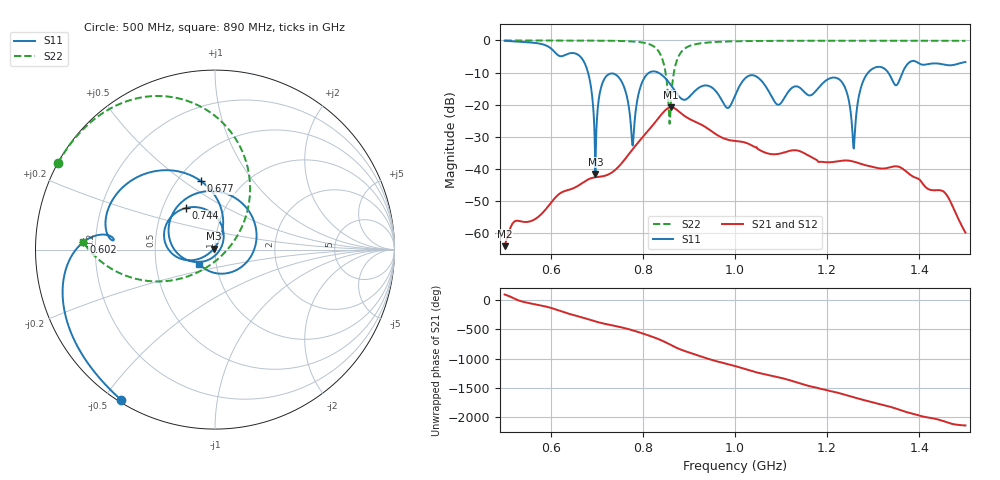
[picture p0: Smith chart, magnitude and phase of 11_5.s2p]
! TOUCHSTONE file generated by CST MICROWAVE STUDIO
! Date and time: Mon Nov 30 08:37:13 2020
! Project name: Scenario_1_Planar_Body_Tissue_Out_of_Line.cst
! Parameters = {dy1=-173; L_HA=400; Ltissue=700; MT=2.54; Rad_Dielectric=30; Rad_Lower=7.3; Rad_Upper=30; Wtissue=700; a_HA=580; a_WG=246; b_HA=500; b_WG=121; c_HA=0; c_WG=187; d_feed=85; dx1=866; h_feed=15; h_lower=18; h_upper=40; hfat=3; hgap=25; hmuscle=50; hskin=1.5}
! Header version: 2018
! Port assignment regex: !\s*Touchstone port\s*([0-9]+)\s*=\s*(CST MWS port|CST DS port)\s*([0-9]+|Zmin|Zmax)\s*\(\"(.*)\"\)(\s*mode\s*([0-9]+))?.*
! Touchstone port assignment:
! Touchstone port 1 = CST MWS port 1 ("")
! Touchstone port 2 = CST MWS port 2 ("")
# GHz S DB R 50
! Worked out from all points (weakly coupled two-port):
!   1003 points, 500 MHz to 1.5 GHz, reference 50 ohm
!   highest |S21| = -20.82 dB at 861 MHz (marker M1); lowest = -64.1 dB at 500 MHz (marker M2)
!   lowest |S11| = -41.7 dB at 697 MHz (marker M3), VSWR 1.02, Z = 49.3 + j0.473 ohm
!   |S11| at or under -10 dB: 681 MHz to 814.1 MHz (133.1 MHz wide, 17.8 % of centre); 833 MHz to 1.289 GHz (456.1 MHz wide, 43 % of centre); 1.332 GHz to 1.364 GHz (31.19 MHz wide, 2.31 % of centre)
!   |S22| runs from -26.0 to 0.0 dB; largest |S21 - S12| = 0.00074
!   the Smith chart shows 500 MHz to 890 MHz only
!   S11 on the Smith chart (normalised r, x): 500 MHz: 0.01, -0.55; 602 MHz: 0.15, +0.03; 677 MHz: 0.65, +0.58; 744 MHz: 0.66, +0.33; 890 MHz: 0.83, -0.13
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0.5  -0.11 -122.1  -64.14 100.6  -64.14 100.6  -0.01 151.2
0.602  -2.68 176.7  -50.37 -132.7  -50.36 -132.7  -0.02 144.0
0.667  -5.48 123.9  -44.60 69.1  -44.61 69.1  -0.04 138.4
0.677  -8.19 101.5  -43.68 45.8  -43.68 45.8  -0.05 137.4
0.697  -41.67 144.5  -42.66 -2.2  -42.66 -2.2  -0.06 135.2
0.714  -12.73 -172.4  -42.32 -36.8  -42.32 -36.8  -0.08 133.1
0.744  -10.97 125.0  -39.85 -86.8  -39.85 -86.8  -0.15 128.6
0.778  -32.76 -45.2  -33.92 -155.3  -33.92 -155.3  -0.33 121.0
0.799  -12.88 179.7  -30.24 152.3  -30.24 152.3  -0.64 113.2
0.834  -10.07 73.7  -24.13 53.6  -24.15 53.7  -3.35 84.0
0.861  -13.94 -12.8  -20.82 -47.9  -20.82 -47.9  -18.92 -116.4
0.89  -18.51 -138.1  -23.50 -148.4  -23.50 -148.4  -2.64 176.6
1  -17.18 109.3  -31.33 -49.4  -31.34 -49.4  -0.26 140.3
1.034  -10.86 -6.5  -32.55 -129.1  -32.55 -129.1  -0.19 136.1
1.092  -20.00 153.1  -35.42 121.0  -35.43 121.0  -0.13 130.4
1.167  -16.92 169.2  -36.51 -45.1  -36.53 -45.1  -0.09 124.2
1.228  -12.36 2.5  -37.57 -159.7  -37.57 -159.7  -0.09 119.6
1.258  -33.69 35.7  -37.79 131.5  -37.79 131.5  -0.08 117.3
1.284  -11.02 52.7  -38.94 76.0  -38.94 76.0  -0.09 115.3
1.334  -10.35 -17.0  -39.63 -23.8  -39.63 -23.8  -0.08 111.5
1.454  -7.53 -38.7  -47.29 77.4  -47.28 77.6  -0.11 102.0
1.5  -6.74 -45.3  -59.90 8.3  -59.90 8.3  -0.13 98.0
